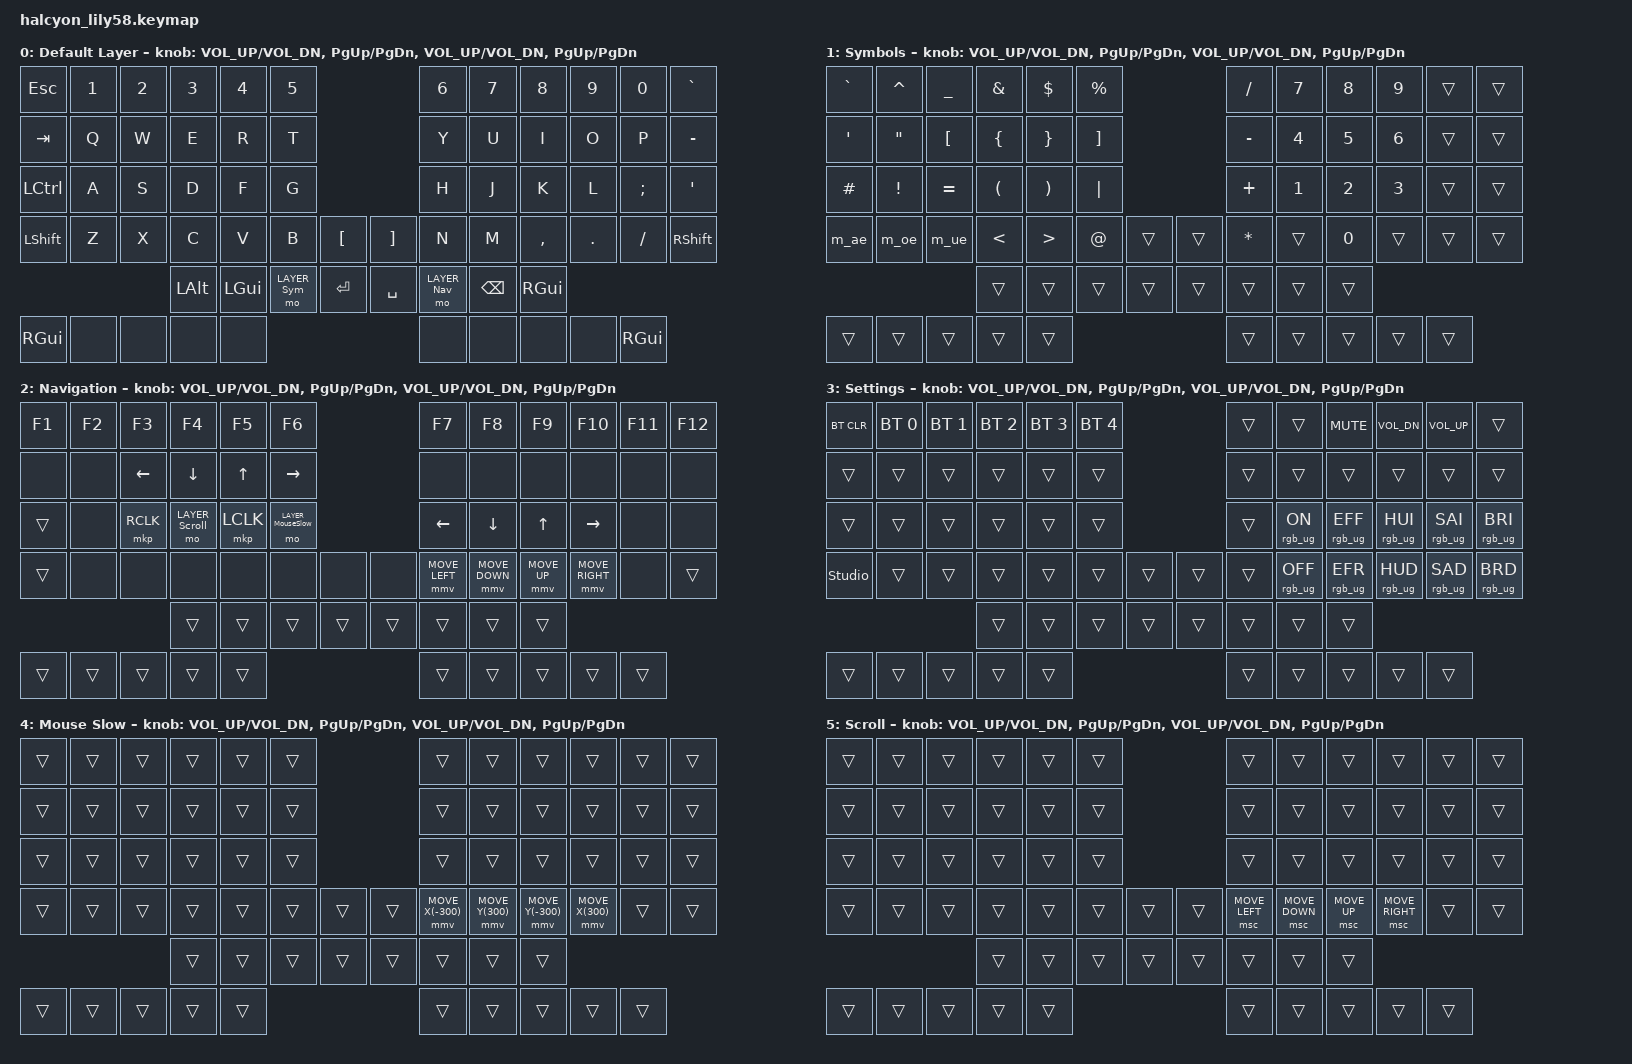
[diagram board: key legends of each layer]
/*
 * Copyright (c) 2022 The ZMK Contributors
 *
 * SPDX-License-Identifier: MIT
 */

#include <behaviors.dtsi>
#include <dt-bindings/zmk/keys.h>
#include <dt-bindings/zmk/bt.h>

#define ZMK_POINTING_DEFAULT_MOVE_VAL 1200
#include <dt-bindings/zmk/pointing.h>

#include <dt-bindings/zmk/rgb.h>

#define LAYER_Base       0
#define LAYER_Sym        1
#define LAYER_Nav        2
#define LAYER_Tri        3
#define LAYER_MouseSlow  4
#define LAYER_Scroll     5

/ {
    conditional_layers {
        compatible = "zmk,conditional-layers";
        tri_layer {
            if-layers = <LAYER_Sym LAYER_Nav>;
            then-layer = <LAYER_Tri>;
        };
    };

    macros {
        m_ae: m_ae {
            compatible = "zmk,behavior-macro";
            #binding-cells = <0>;
            wait-ms = <30>;
            tap-ms = <30>;
            bindings = <&kp LA(U)>, <&kp A>;
        };

        m_oe: m_oe {
            compatible = "zmk,behavior-macro";
            #binding-cells = <0>;
            wait-ms = <30>;
            tap-ms = <30>;
            bindings = <&kp LA(U)>, <&kp O>;
        };

        m_ue: m_ue {
            compatible = "zmk,behavior-macro";
            #binding-cells = <0>;
            wait-ms = <30>;
            tap-ms = <30>;
            bindings = <&kp LA(U)>, <&kp U>;
        };
    };
};

/ {
    keymap {
        compatible = "zmk,keymap";

        default_layer {
            display-name = "Default Layer";
// ------------------------------------------------------------------------------------------------------------
// |  ESC  |  1  |  2  |  3   |  4   |  5   |                   |  6   |  7    |  8    |  9   |   0   |   `   |
// |  TAB  |  Q  |  W  |  E   |  R   |  T   |                   |  Y   |  U    |  I    |  O   |   P   |   -   |
// |  CTRL |  A  |  S  |  D   |  F   |  G   |                   |  H   |  J    |  K    |  L   |   ;   |   '   |
// | SHIFT |  Z  |  X  |  C   |  V   |  B   |   "["  |  |  "]"  |  N   |  M    |  ,    |  .   |   /   | SHIFT |
//                     | ALT  | GUI  | SYM  |  SPACE |  | ENTER | NAV  | BSPC  | GUI   |
            bindings = <
&kp ESC   &kp N1 &kp N2 &kp N3   &kp N4   &kp N5                                 &kp N6         &kp N7   &kp N8    &kp N9  &kp N0   &kp GRAVE
&kp TAB   &kp Q  &kp W  &kp E    &kp R    &kp T                                  &kp Y          &kp U    &kp I     &kp O   &kp P    &kp MINUS
&kp LCTRL &kp A  &kp S  &kp D    &kp F    &kp G                                  &kp H          &kp J    &kp K     &kp L   &kp SEMI &kp SQT
&kp LSHFT &kp Z  &kp X  &kp C    &kp V    &kp B         &kp LBKT      &kp RBKT   &kp N          &kp M    &kp COMMA &kp DOT &kp FSLH &kp RSHFT
                        &kp LALT &kp LGUI &mo LAYER_Sym &kp RET       &kp SPACE  &mo LAYER_Nav  &kp BSPC &kp RGUI

&kp RGUI &none &none &none &none                                                        &none &none &none &none &kp RGUI
            >;
            sensor-bindings = <&inc_dec_kp C_VOL_UP C_VOL_DN &inc_dec_kp PG_UP PG_DN &inc_dec_kp C_VOL_UP C_VOL_DN &inc_dec_kp PG_UP PG_DN>;
        };

        symbol_layer {
            display-name = "Symbols";
// ------------------------------------------------------------------------------------------------------------
// |   `   |  ^  |  _  |  &   |  $   |  %   |                   |  /   |  7    |  8    |  9   |       |       |
// |   '   |  "  |  [  |  {   |  }   |  ]   |                   |  -   |  4    |  5    |  6   |       |       |
// |   #   |  !  |  =  |  (   |  )   |  |   |                   |  +   |  1    |  2    |  3   |       |       |
// |   ä   |  ö  |  ü  |  <   |  >   |  @   |        |  |       |  *   |       |  0    |      |       |       |
//                     |      |      |      |        |  |       |      |       |       |
            bindings = <
&kp GRAVE      &kp CARET         &kp UNDERSCORE   &kp AMPERSAND        &kp DOLLAR            &kp PERCENT                                &kp SLASH      &kp NUMBER_7 &kp NUMBER_8 &kp NUMBER_9 &trans   &trans
&kp APOSTROPHE &kp DOUBLE_QUOTES &kp LEFT_BRACKET &kp LEFT_BRACE       &kp RIGHT_BRACE       &kp RIGHT_BRACKET                          &kp MINUS      &kp NUMBER_4 &kp NUMBER_5 &kp NUMBER_6 &trans   &trans
&kp HASH       &kp EXCL          &kp EQUAL        &kp LEFT_PARENTHESIS &kp RIGHT_PARENTHESIS &kp PIPE                                   &kp PLUS       &kp NUMBER_1 &kp NUMBER_2 &kp NUMBER_3 &trans   &trans
&m_ae          &m_oe             &m_ue            &kp LESS_THAN        &kp GREATER_THAN      &kp AT_SIGN       &trans        &trans     &kp ASTERISK   &trans       &kp NUMBER_0 &trans       &trans   &trans
                                                  &trans               &trans                &trans            &trans        &trans     &trans         &trans       &trans

&trans   &trans &trans &trans &trans                                                       &trans &trans &trans &trans &trans
            >;
            sensor-bindings = <&inc_dec_kp C_VOL_UP C_VOL_DN &inc_dec_kp PG_UP PG_DN &inc_dec_kp C_VOL_UP C_VOL_DN &inc_dec_kp PG_UP PG_DN>;
        };

        navigation_layer {
            display-name = "Navigation";
// ------------------------------------------------------------------------------------------------------------
// |  F1   |  F2 |  F3 |  F4  |  F5  |  F6  |                   |  F7  |  F8   |  F9   | F10  | F11   | F12   |
// |       |     |  ←  |  ↓   |  ↑   |  →   |                   |      |       |       |      |       |       |
// | CTRL  |     |RCLK |SCROLL| LCLK | SLOW |                   |  ←   |  ↓    |  ↑    |  →   |       |       |
// | SHIFT |     |     |      |      |      |        |  |       | M←   | M↓    | M↑    | M→   |       | SHIFT |
//                     | ALT  | GUI  | SYM  | SPACE  |  | ENTER | NAV  | BSPC  | GUI   |
            bindings = <
&kp F1    &kp F2 &kp F3         &kp F4           &kp F5       &kp F6                                       &kp F7         &kp F8         &kp F9       &kp F10         &kp F11  &kp F12
&none     &none  &kp LEFT_ARROW &kp DOWN_ARROW   &kp UP_ARROW &kp RIGHT_ARROW                              &none          &none          &none        &none           &none    &none
&trans    &none  &mkp RCLK      &mo LAYER_Scroll &mkp LCLK    &mo LAYER_MouseSlow                          &kp LEFT_ARROW &kp DOWN_ARROW &kp UP_ARROW &kp RIGHT_ARROW &none    &none
&trans    &none  &none          &none            &none        &none               &none         &none      &mmv MOVE_LEFT &mmv MOVE_DOWN &mmv MOVE_UP &mmv MOVE_RIGHT &none    &trans
                                &trans           &trans       &trans              &trans        &trans     &trans         &trans         &trans

&trans   &trans &trans &trans &trans                                                       &trans &trans &trans &trans &trans
            >;
            sensor-bindings = <&inc_dec_kp C_VOL_UP C_VOL_DN &inc_dec_kp PG_UP PG_DN &inc_dec_kp C_VOL_UP C_VOL_DN &inc_dec_kp PG_UP PG_DN>;
        };

        tri_layer {
            display-name = "Settings";
// ------------------------------------------------------------------------------------------------------------
// | BTCLR | BT1 | BT2 | BT3 | BT4 | BT5 |                   |     |       | MUTE  |VOL_DN |VOL_UP |       |
// |       |     |     |     |     |     |                   |     |       |       |       |       |       |
// |       |     |     |     |     |     |                   |     | RGB_ON|RGB_EFF|RGB_HUI|RGB_SAI|RGB_BRI|
// |STUDIO |     |     |     |     |     |        |  |       |     |RGB_OFF|RGB_EFR|RGB_HUD|RGB_SAD|RGB_BRD|
//                   |     |     |     |        |  |       |     |       |       |
            bindings = <
&bt BT_CLR     &bt BT_SEL 0 &bt BT_SEL 1 &bt BT_SEL 2 &bt BT_SEL 3 &bt BT_SEL 4                           &trans         &trans          &kp C_MUTE      &kp C_VOL_DN    &kp C_VOL_UP    &trans
&trans         &trans       &trans       &trans       &trans       &trans                                 &trans         &trans          &trans          &trans          &trans          &trans
&trans         &trans       &trans       &trans       &trans       &trans                                 &trans         &rgb_ug RGB_ON  &rgb_ug RGB_EFF &rgb_ug RGB_HUI &rgb_ug RGB_SAI &rgb_ug RGB_BRI
&studio_unlock &trans       &trans       &trans       &trans       &trans        &trans        &trans     &trans         &rgb_ug RGB_OFF &rgb_ug RGB_EFR &rgb_ug RGB_HUD &rgb_ug RGB_SAD &rgb_ug RGB_BRD
                                         &trans       &trans       &trans        &trans        &trans     &trans         &trans          &trans

&trans   &trans &trans &trans &trans                                                       &trans &trans &trans &trans &trans
            >;
            sensor-bindings = <&inc_dec_kp C_VOL_UP C_VOL_DN &inc_dec_kp PG_UP PG_DN &inc_dec_kp C_VOL_UP C_VOL_DN &inc_dec_kp PG_UP PG_DN>;
        };

        mouse_slow_layer {
            display-name = "Mouse Slow";
            bindings = <
&trans    &trans &trans &trans   &trans   &trans                                 &trans            &trans           &trans            &trans           &trans   &trans
&trans    &trans &trans &trans   &trans   &trans                                 &trans            &trans           &trans            &trans           &trans   &trans
&trans    &trans &trans &trans   &trans   &trans                                 &trans            &trans           &trans            &trans           &trans   &trans
&trans    &trans &trans &trans   &trans   &trans        &trans        &trans     &mmv MOVE_X(-300) &mmv MOVE_Y(300) &mmv MOVE_Y(-300) &mmv MOVE_X(300) &trans   &trans
                        &trans   &trans   &trans        &trans        &trans     &trans            &trans           &trans

&trans   &trans &trans &trans &trans                                                       &trans &trans &trans &trans &trans
            >;
            sensor-bindings = <&inc_dec_kp C_VOL_UP C_VOL_DN &inc_dec_kp PG_UP PG_DN &inc_dec_kp C_VOL_UP C_VOL_DN &inc_dec_kp PG_UP PG_DN>;
        };

        scroll_layer {
            display-name = "Scroll";
            bindings = <
&trans    &trans &trans &trans   &trans   &trans                                 &trans         &trans         &trans       &trans          &trans   &trans
&trans    &trans &trans &trans   &trans   &trans                                 &trans         &trans         &trans       &trans          &trans   &trans
&trans    &trans &trans &trans   &trans   &trans                                 &trans         &trans         &trans       &trans          &trans   &trans
&trans    &trans &trans &trans   &trans   &trans        &trans        &trans     &msc MOVE_LEFT &msc MOVE_DOWN &msc MOVE_UP &msc MOVE_RIGHT &trans   &trans
                        &trans   &trans   &trans        &trans        &trans     &trans         &trans         &trans

&trans   &trans &trans &trans &trans                                                       &trans &trans &trans &trans &trans
            >;
            sensor-bindings = <&inc_dec_kp C_VOL_UP C_VOL_DN &inc_dec_kp PG_UP PG_DN &inc_dec_kp C_VOL_UP C_VOL_DN &inc_dec_kp PG_UP PG_DN>;
        };
    };
};
